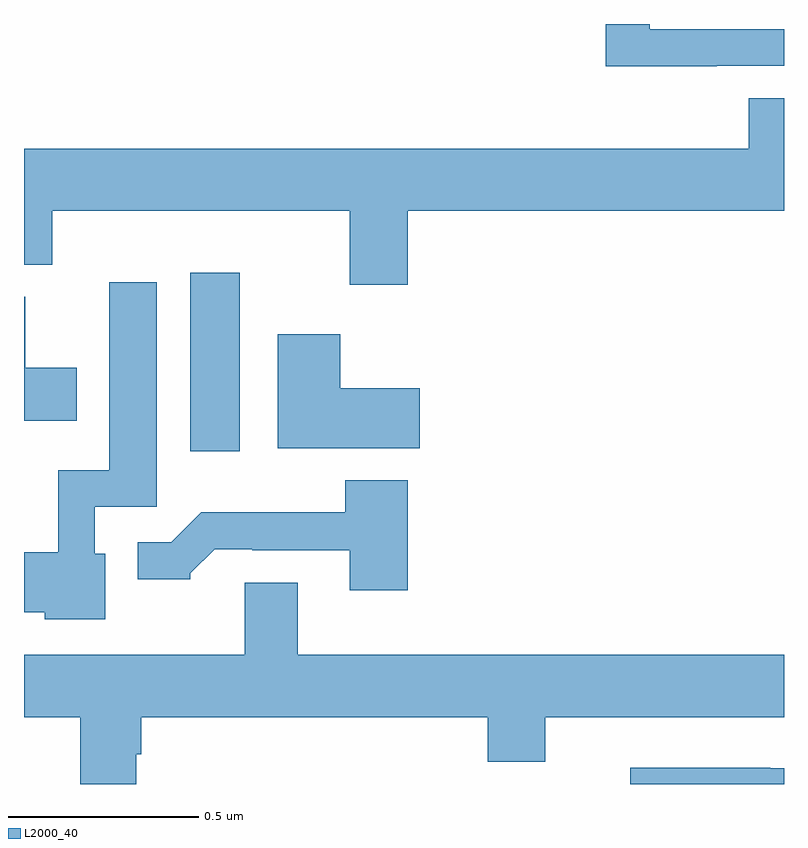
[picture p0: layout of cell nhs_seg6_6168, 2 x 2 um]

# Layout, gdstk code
import gdstk
lib = gdstk.Library(unit=1e-6, precision=1e-09)
def R(c, l, rs):  # rectangles x0, y0, x1, y1
    for r in rs: c.add(gdstk.rectangle(r[:2], r[2:], *l))
def P(c, l, *ps):  # polygons
    for p in ps: c.add(gdstk.Polygon(p, *l))
L2000_40 = (2000, 40)

nhs_seg6_6168 = lib.new_cell('nhs_seg6_6168')
R(nhs_seg6_6168, L2000_40, [(192.437,941.376,192.568,941.845)])
P(nhs_seg6_6168, L2000_40, [(193.823,942.39),(194,942.39),(194,942.486),(193.647,942.486),(193.647,942.5),(193.531,942.5),(193.531,942.389),(193.823,942.389)],
  [(193.01,942.008),(194,942.008),(194,942.305),(193.907,942.305),(193.907,942.172),(192,942.172),(192,941.867),(192.074,941.867),(192.074,942.008),(192.857,942.008),(192.857,941.814),(193.01,941.814)],
  [(192.214,941.106),(192.186,941.106),(192.186,941.229),(192.349,941.229),(192.349,941.821),(192.224,941.821),(192.224,941.326),(192.09,941.326),(192.09,941.11),(192,941.11),(192,940.952),(192.054,940.952),(192.054,940.934),(192.214,940.934)],
  [(192.139,941.596),(192.003,941.596),(192.003,941.782),(192,941.782),(192,941.456),(192.139,941.456)],
  [(193.042,941.542),(192.832,941.542),(192.832,941.683),(192.668,941.683),(192.668,941.384),(193.042,941.384)],
  [(193.01,941.299),(192.845,941.299),(192.845,941.215),(192.466,941.215),(192.387,941.136),(192.299,941.136),(192.299,941.039),(192.438,941.039),(192.438,941.054),(192.502,941.118),(192.601,941.118),(192.601,941.115),(192.857,941.115),(192.857,941.01),(193.01,941.01)],
  [(192.295,940.578),(192.308,940.578),(192.308,940.676),(193.22,940.676),(193.22,940.559),(193.372,940.559),(193.372,940.676),(194,940.676),(194,940.84),(192.721,940.84),(192.721,941.03),(192.581,941.03),(192.581,940.84),(192,940.84),(192,940.676),(192.148,940.676),(192.148,940.5),(192.295,940.5)],
  [(194,940.542),(193.964,940.542),(193.964,940.543),(193.596,940.543),(193.596,940.5),(194,940.5)])

lib.write_gds('nhs_seg6_6168.gds')
